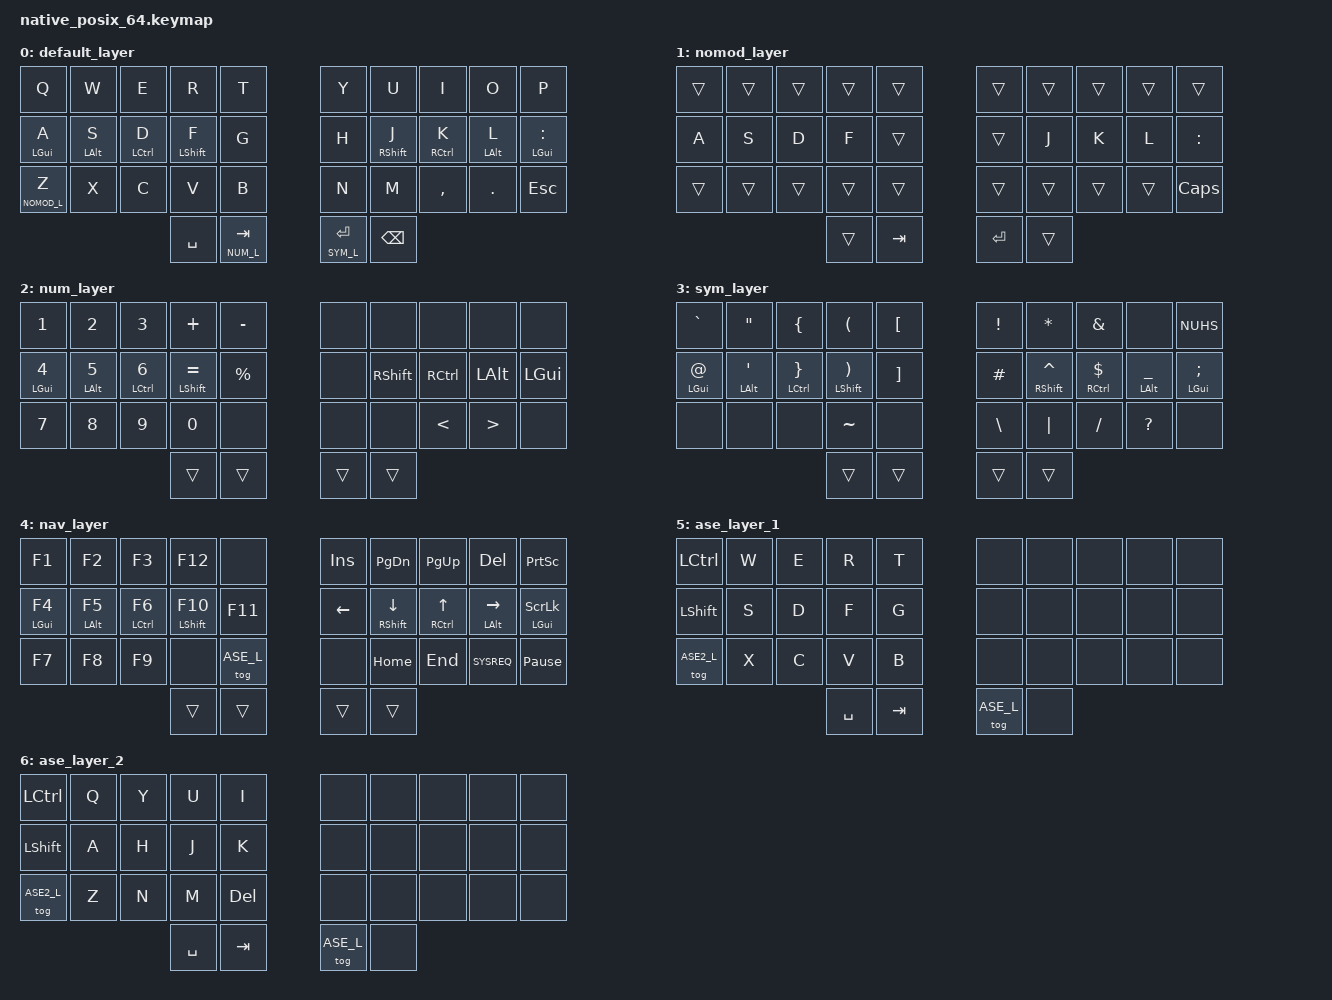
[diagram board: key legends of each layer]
/*
 * Copyright (c) 2020 The ZMK Contributors
 *
 * SPDX-License-Identifier: MIT
 */

#include <behaviors.dtsi>
#include <dt-bindings/zmk/keys.h>
#include <dt-bindings/zmk/bt.h>
#include <dt-bindings/zmk/outputs.h>


#define NOMOD_L 1
#define NUM_L 2
#define SYM_L 3
#define NAV_L 4
#define ASE_L 5
#define ASE2_L 6

// Using layer taps on thumbs, having quick tap as well helps w/ repeating space/backspace
&lt { quick_tap_ms = <200>; };

/ {
    behaviors {
        hml: homerow_mods_left  {
            compatible = "zmk,behavior-hold-tap";
            label = "homerow mods";
            #binding-cells = <2>;
            tapping_term_ms = <150>;
            flavor = "balanced";
            bindings = <&kp>, <&kp>;
            hold-trigger-key-positions = <16 17 18 19 20 21 22 23 24 25 26 27 28 29 30 31 32>;
        };
        hmr: homerow_mods_right  {
            compatible = "zmk,behavior-hold-tap";
            label = "homerow mods";
            #binding-cells = <2>;
            tapping_term_ms = <150>;
            flavor = "balanced";
            bindings = <&kp>, <&kp>;
            hold-trigger-key-positions = <1 2 3 4 5 6 7 8 9 10 11 12 13 14 15 16>;
        };
    };

    conditional_layers {
        compatible = "zmk,conditional-layers";
        nav_layer {
            if-layers = <2 3>;
            then-layer = <4>;
        };
    };

    keymap {
        compatible = "zmk,keymap";

        default_layer {
            bindings = <

&kp Q          &kp W        &kp E         &kp R         &kp T          &kp Y            &kp U         &kp I         &kp O        &kp P
&hml LGUI A    &hml LALT S  &hml LCTRL D  &hml LSHFT F  &kp G          &kp H            &hmr RSHFT J  &hmr RCTRL K  &hmr LALT L  &hmr LGUI COLON
&lt NOMOD_L Z  &kp X        &kp C         &kp V         &kp B          &kp N            &kp M         &kp COMMA     &kp DOT      &kp ESC
                                          &kp SPACE      &lt NUM_L TAB  &lt SYM_L ENTER  &kp BSPC

            >;
        };

        nomod_layer {
            bindings = <

&trans  &trans  &trans  &trans  &trans   &trans     &trans  &trans  &trans  &trans
&kp A   &kp S   &kp D   &kp F   &trans   &trans     &kp J   &kp K   &kp L   &kp COLON
&trans  &trans  &trans  &trans  &trans   &trans     &trans  &trans  &trans  &kp CAPS
                        &trans  &kp TAB  &kp ENTER  &trans

            >;
        };

        num_layer {
            bindings = <

&kp N1       &kp N2       &kp N3        &kp PLUS         &kp MINUS  &none      &none      &none      &none     &none
&hml LGUI N4  &hml LALT N5  &hml LCTRL N6  &hml LSHFT EQUAL  &kp PRCNT  &none      &kp RSHFT  &kp RCTRL  &kp LALT  &kp LGUI
&kp N7       &kp N8       &kp N9        &kp N0           &none      &none      &none      &kp LT     &kp GT    &none
                                        &trans           &trans     &trans     &trans

            >;
        };

        sym_layer {
            bindings = <

&kp GRAVE    &kp DQT       &kp LBRC        &kp LPAR        &kp LBKT  &kp EXCL  &kp STAR        &kp AMPS        &none           &kp NUHS
&hml LGUI AT  &hml LALT SQT  &hml LCTRL RBRC  &hml LSHFT RPAR  &kp RBKT  &kp HASH  &hmr RSHFT CARET &hmr RCTRL DLLR  &hmr LALT UNDER  &hmr LGUI SEMI
&none        &none         &none           &kp TILDE       &none     &kp BSLH  &kp PIPE        &kp FSLH        &kp QMARK       &none
                                           &trans          &trans    &trans    &trans

            >;
        };

        nav_layer {
            bindings = <

&kp F1        &kp F2        &kp F3         &kp F12         &none      &kp INS    &kp PG_DN        &kp PG_UP      &kp DEL          &kp PSCRN
&hml LGUI F4  &hml LALT F5  &hml LCTRL F6  &hml LSHFT F10  &kp F11    &kp LEFT   &hmr RSHFT DOWN  &hmr RCTRL UP  &hmr LALT RIGHT  &hmr LGUI SLCK
&kp F7        &kp F8        &kp F9         &none           &tog ASE_L &none      &kp HOME         &kp END        &kp SYSREQ       &kp PAUSE_BREAK
                                           &trans          &trans     &trans     &trans

            >;
        };

        ase_layer_1 {
            bindings = <

&kp LCTRL    &kp W  &kp E  &kp R      &kp T    &none      &none  &none  &none  &none
&kp LSHIFT   &kp S  &kp D  &kp F      &kp G    &none      &none  &none  &none  &none
&tog ASE2_L  &kp X  &kp C  &kp V      &kp B    &none      &none  &none  &none  &none
                           &kp SPACE  &kp TAB  &tog ASE_L &none
            >;
        };

        ase_layer_2 {
            bindings = <

&kp LCTRL    &kp Q  &kp Y  &kp U      &kp I    &none      &none  &none  &none  &none
&kp LSHIFT   &kp A  &kp H  &kp J      &kp K    &none      &none  &none  &none  &none
&tog ASE2_L  &kp Z  &kp N  &kp M      &kp DEL  &none      &none  &none  &none  &none
                           &kp SPACE  &kp TAB  &tog ASE_L &none
            >;
        };
    };
};
